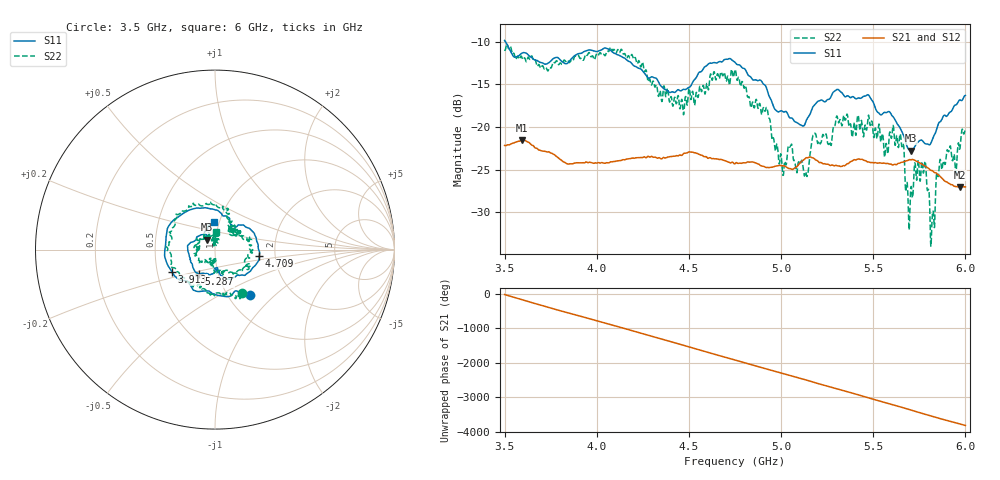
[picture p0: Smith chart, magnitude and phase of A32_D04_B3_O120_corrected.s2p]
! Created with skrf 1.9.0 (http://scikit-rf.org).
# Hz S RI R 50.0
!freq ReS11 ImS11 ReS21 ImS21 ReS12 ImS12 ReS22 ImS22
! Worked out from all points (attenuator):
!   1601 points, 3.5 GHz to 6 GHz, reference 50 ohm
!   highest |S21| = -21.54 dB at 3.594 GHz (marker M1); lowest = -27.0 dB at 5.97 GHz (marker M2)
!   lowest |S11| = -22.8 dB at 5.705 GHz (marker M3), VSWR 1.16, Z = 45.3 + j5.12 ohm
!   |S11| at or under -10 dB: 3.504 GHz to end of sweep
!   |S22| runs from -33.9 to -10.3 dB; largest |S21 - S12| = 0.00097
!   S11 on the Smith chart (normalised r, x): 3.5 GHz: 1.26, -0.72; 3.913 GHz: 0.60, -0.16; 4.709 GHz: 1.65, -0.13; 5.287 GHz: 0.81, -0.22; 6 GHz: 0.95, +0.30
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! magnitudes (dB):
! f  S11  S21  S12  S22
! 3.5 GHz  -9.9  -22.1  -22.1  -11.0
! 3.594 GHz  -11.4  -21.5  -21.5  -11.9
! 3.913 GHz  -11.4  -24.2  -24.1  -12.0
! 3.917 GHz  -11.4  -24.2  -24.2  -11.9
! 4.127 GHz  -11.7  -23.9  -23.9  -11.2
! 4.334 GHz  -14.7  -23.6  -23.5  -16.4
! 4.709 GHz  -12.1  -24.1  -24.0  -14.1
! 4.75 GHz  -12.4  -24.3  -24.2  -13.3
! 4.927 GHz  -15.8  -24.7  -24.7  -18.1
! 5.016 GHz  -18.2  -24.5  -24.5  -24.8
! 5.048 GHz  -18.9  -24.9  -24.8  -22.3
! 5.136 GHz  -19.3  -23.6  -23.5  -25.4
! 5.167 GHz  -17.9  -23.6  -23.5  -21.6
! 5.287 GHz  -15.8  -24.5  -24.5  -19.8
! 5.584 GHz  -18.2  -24.3  -24.2  -21.8
! 5.655 GHz  -20.5  -24.1  -24.0  -22.3
! 5.705 GHz  -22.8  -23.8  -23.8  -27.0
! 5.773 GHz  -21.8  -24.5  -24.4  -25.3
! 5.822 GHz  -21.4  -25.1  -25.0  -30.0
! 5.855 GHz  -19.6  -25.6  -25.5  -25.5
! 5.97 GHz  -16.8  -27.0  -27.0  -22.5
! 6 GHz  -16.3  -27.0  -26.9  -20.2
